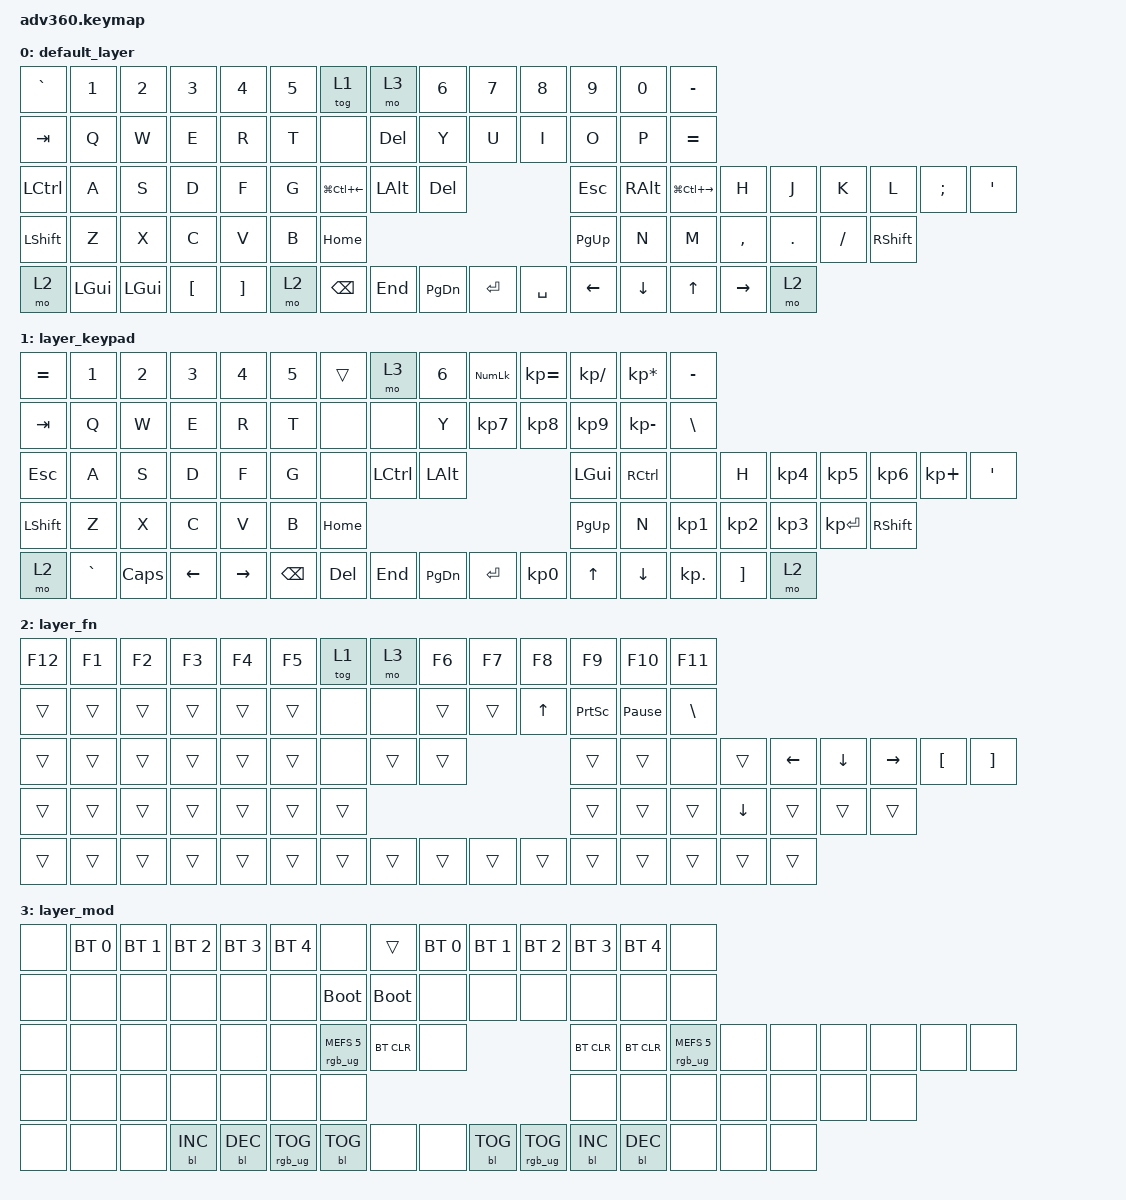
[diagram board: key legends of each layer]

/*
 * Copyright (c) 2020 The ZMK Contributors
 *
 * SPDX-License-Identifier: MIT
 */


/* THIS FILE WAS GENERATED!
 *
 * This file was generated automatically. You may or may not want to
 * edit it directly.
 */

#include <behaviors.dtsi>
#include <dt-bindings/zmk/keys.h>
#include <dt-bindings/zmk/bt.h>
#include <dt-bindings/zmk/rgb.h>
#include <dt-bindings/zmk/backlight.h>

/ {
  behaviors {
    #include "macros.dtsi"
    #include "version.dtsi"

    hm: homerow_mods {
        compatible = "zmk,behavior-hold-tap";
        label = "HOMEROW_MODS";
        #binding-cells = <2>;
        tapping-term-ms = <200>;
        quick_tap_ms = <175>;
        flavor = "tap-preferred";
        bindings = <&kp>, <&kp>;
    };
  };

    keymap {
        compatible = "zmk,keymap";


        default_layer {
            bindings = <
 &kp GRAVE    &kp N1    &kp N2    &kp N3    &kp N4  &kp N5                            &tog 1     &mo 3     &kp N6     &kp N7     &kp N8          &kp N9          &kp N0                &kp MINUS
   &kp TAB     &kp Q     &kp W     &kp E     &kp R   &kp T                             &none   &kp DEL      &kp Y      &kp U      &kp I           &kp O           &kp P                &kp EQUAL
 &kp LCTRL     &kp A     &kp S     &kp D     &kp F   &kp G            &kp LG(LC(LEFT_ARROW))  &kp LALT    &kp DEL                            &kp ESCAPE        &kp RALT  &kp LG(LC(RIGHT_ARROW))      &kp H   &kp J      &kp K    &kp L  &kp SEMI    &kp SQT
 &kp LSHFT     &kp Z     &kp X     &kp C     &kp V   &kp B                                &kp HOME             &kp PG_UP                 &kp N   &kp M  &kp COMMA  &kp DOT  &kp FSLH  &kp RSHFT
     &mo 2  &kp LGUI  &kp LGUI  &kp LBKT  &kp RBKT   &mo 2                          &kp BSPC   &kp END  &kp PG_DN  &kp ENTER  &kp SPACE  &kp LEFT_ARROW  &kp DOWN_ARROW                   &kp UP  &kp RIGHT   &mo 2
            >;
        };

        layer_keypad {
            bindings = <
 &kp EQUAL     &kp N1    &kp N2    &kp N3     &kp N4    &kp N5             &trans      &mo 3     &kp N6  &kp KP_NUM  &kp KP_EQUAL  &kp KP_DIVIDE  &kp KP_MULTIPLY   &kp MINUS
   &kp TAB      &kp Q     &kp W     &kp E      &kp R     &kp T              &none      &none      &kp Y   &kp KP_N7     &kp KP_N8      &kp KP_N9     &kp KP_MINUS    &kp BSLH
   &kp ESC      &kp A     &kp S     &kp D      &kp F     &kp G              &none  &kp LCTRL   &kp LALT                                 &kp LGUI        &kp RCTRL       &none     &kp H  &kp KP_N4  &kp KP_N5  &kp KP_N6   &kp KP_PLUS    &kp SQT
 &kp LSHFT      &kp Z     &kp X     &kp C      &kp V     &kp B                 &kp HOME             &kp PG_UP                 &kp N  &kp KP_N1  &kp KP_N2  &kp KP_N3  &kp KP_ENTER  &kp RSHFT
     &mo 2  &kp GRAVE  &kp CAPS  &kp LEFT  &kp RIGHT  &kp BSPC            &kp DEL    &kp END  &kp PG_DN   &kp ENTER     &kp KP_N0         &kp UP         &kp DOWN  &kp KP_DOT  &kp RBKT      &mo 2
            >;
        };

        layer_fn {
            bindings = <
 &kp F12  &kp F1  &kp F2  &kp F3  &kp F4  &kp F5            &tog 1   &mo 3  &kp F6  &kp F7        &kp F8           &kp F9          &kp F10        &kp F11
  &trans  &trans  &trans  &trans  &trans  &trans             &none   &none  &trans  &trans  &kp UP_ARROW  &kp PRINTSCREEN  &kp PAUSE_BREAK  &kp BACKSLASH
  &trans  &trans  &trans  &trans  &trans  &trans             &none  &trans  &trans                                 &trans           &trans          &none  &trans  &kp LEFT_ARROW  &kp DOWN_ARROW  &kp RIGHT_ARROW  &kp LEFT_BRACKET  &kp RIGHT_BRACKET
  &trans  &trans  &trans  &trans  &trans  &trans               &trans              &trans              &trans          &trans  &kp DOWN_ARROW           &trans            &trans             &trans
  &trans  &trans  &trans  &trans  &trans  &trans            &trans  &trans  &trans  &trans        &trans           &trans           &trans         &trans  &trans          &trans
            >;
        };

        layer_mod {
            bindings = <
  &none  &bt BT_SEL 0  &bt BT_SEL 1  &bt BT_SEL 2  &bt BT_SEL 3     &bt BT_SEL 4                             &none       &trans  &bt BT_SEL 0  &bt BT_SEL 1     &bt BT_SEL 2  &bt BT_SEL 3  &bt BT_SEL 4                   &none
  &none         &none         &none         &none         &none            &none                       &bootloader  &bootloader         &none         &none            &none         &none         &none                   &none
  &none         &none         &none         &none         &none            &none            &rgb_ug RGB_MEFS_CMD 5   &bt BT_CLR         &none                                   &bt BT_CLR    &bt BT_CLR  &rgb_ug RGB_MEFS_CMD 5   &none   &none   &none   &none   &none   &none
  &none         &none         &none         &none         &none            &none                                      &none                   &none   &none   &none   &none   &none   &none   &none
  &none         &none         &none    &bl BL_INC    &bl BL_DEC  &rgb_ug RGB_TOG                        &bl BL_TOG        &none         &none    &bl BL_TOG  &rgb_ug RGB_TOG    &bl BL_INC    &bl BL_DEC                   &none   &none   &none
            >;
        };

    };
};
